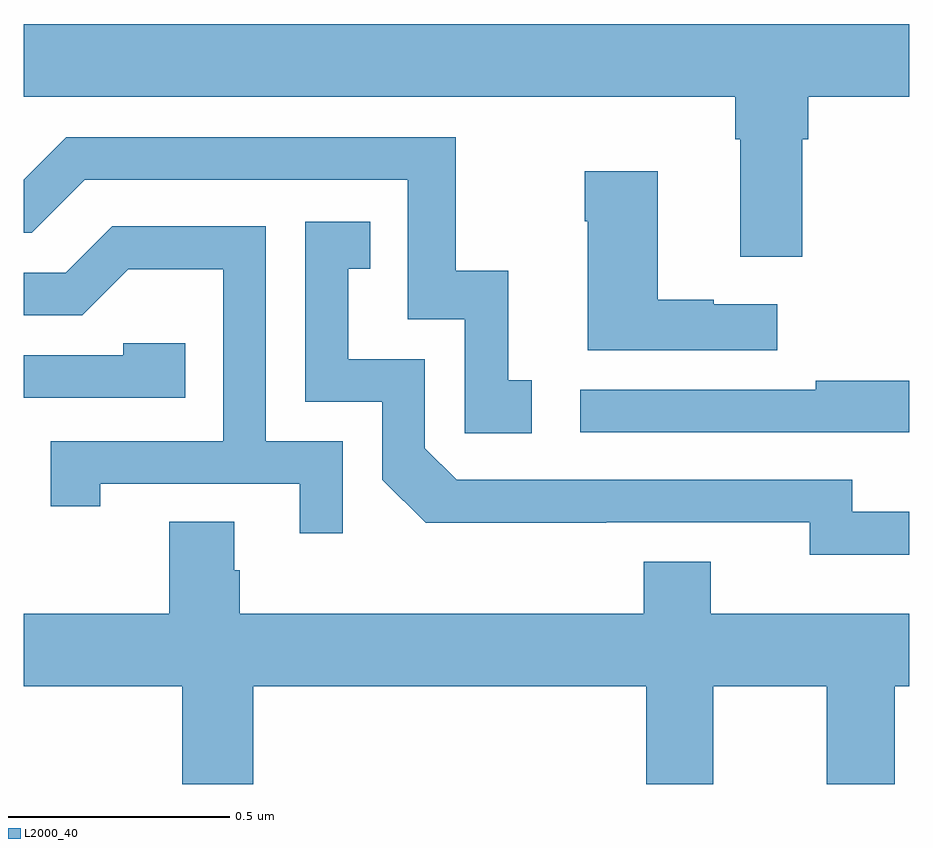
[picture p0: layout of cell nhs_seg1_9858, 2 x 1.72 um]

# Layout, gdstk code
import gdstk
lib = gdstk.Library(unit=1e-6, precision=1e-09)
def P(c, l, *ps):  # polygons
    for p in ps: c.add(gdstk.Polygon(p, *l))
L2000_40 = (2000, 40)

nhs_seg1_9858 = lib.new_cell('nhs_seg1_9858')
P(nhs_seg1_9858, L2000_40, [(235.759,531.656),(235.772,531.656),(235.772,531.752),(236,531.752),(236,531.916),(234,531.916),(234,531.752),(235.607,531.752),(235.607,531.656),(235.619,531.656),(235.619,531.39),(235.759,531.39)],
  [(235.147,531.111),(235.094,531.111),(235.094,531.358),(234.976,531.358),(234.976,531.66),(234.096,531.66),(234,531.564),(234,531.444),(234.018,531.444),(234.138,531.564),(234.867,531.564),(234.867,531.249),(234.996,531.249),(234.996,530.991),(235.147,530.991)],
  [(235.702,531.283),(235.559,531.283),(235.559,531.293),(235.432,531.293),(235.432,531.583),(235.267,531.583),(235.267,531.47),(235.274,531.47),(235.274,531.179),(235.702,531.179)],
  [(236,530.814),(235.872,530.814),(235.872,530.886),(234.978,530.886),(234.906,530.958),(234.906,531.159),(234.733,531.159),(234.733,531.363),(234.782,531.363),(234.782,531.469),(234.636,531.469),(234.636,531.063),(234.81,531.063),(234.81,530.886),(234.908,530.789),(235.316,530.789),(235.316,530.79),(235.776,530.79),(235.776,530.717),(236,530.717)],
  [(234.72,530.973),(234.546,530.973),(234.546,531.459),(234.2,531.459),(234.095,531.354),(234,531.354),(234,531.258),(234.132,531.258),(234.236,531.362),(234.45,531.362),(234.45,530.973),(234.061,530.973),(234.061,530.826),(234.172,530.826),(234.172,530.877),(234.623,530.877),(234.623,530.766),(234.72,530.766)],
  [(234.365,531.195),(234.225,531.195),(234.225,531.168),(234,531.168),(234,531.072),(234.365,531.072)],
  [(236,531.11),(235.789,531.11),(235.789,531.09),(235.257,531.09),(235.257,530.994),(236,530.994)],
  [(234.518,530.42),(235.406,530.42),(235.406,530.199),(235.558,530.199),(235.558,530.42),(235.814,530.42),(235.814,530.199),(235.967,530.199),(235.967,530.42),(236,530.42),(236,530.584),(235.552,530.584),(235.552,530.701),(235.4,530.701),(235.4,530.584),(234.488,530.584),(234.488,530.682),(234.475,530.682),(234.475,530.792),(234.328,530.792),(234.328,530.584),(234,530.584),(234,530.42),(234.358,530.42),(234.358,530.199),(234.518,530.199)])

lib.write_gds('nhs_seg1_9858.gds')
